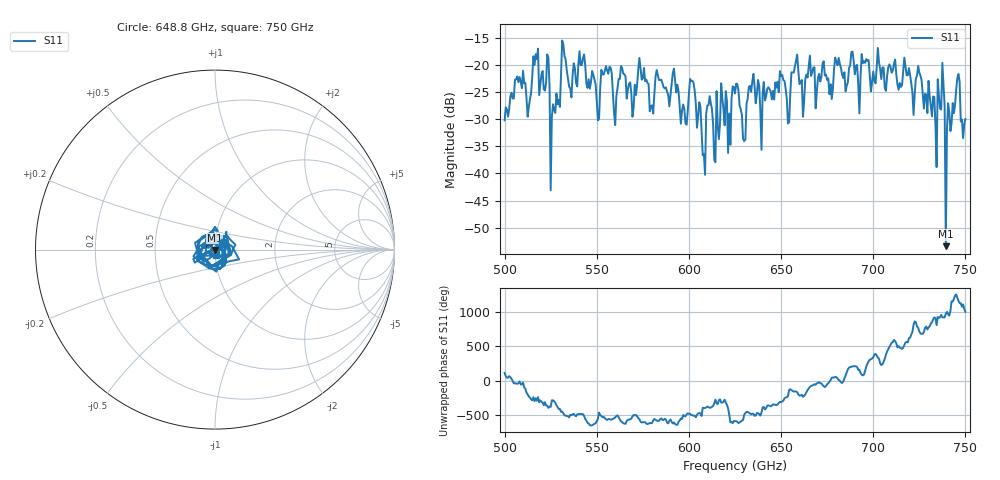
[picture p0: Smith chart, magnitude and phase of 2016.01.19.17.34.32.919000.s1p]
!Created with skrf (http://scikit-rf.org).
# GHz S RI R 50.0
!freq ReS11 ImS11
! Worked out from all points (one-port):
!   401 points, 500 GHz to 750 GHz, reference 50 ohm
!   lowest |S11| = -53.4 dB at 739.4 GHz (marker M1), VSWR 1.00, Z = 49.9 - j0.204 ohm
!   |S11| at or under -10 dB: start of sweep to end of sweep
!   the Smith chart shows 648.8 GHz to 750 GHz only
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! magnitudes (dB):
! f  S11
! 500 GHz  -30.2
! 506.9 GHz  -22.1
! 513.1 GHz  -27.7
! 516.9 GHz  -17.9
! 523.1 GHz  -18.0
! 526.2 GHz  -27.2
! 531.2 GHz  -15.4
! 541.9 GHz  -19.9
! 550.6 GHz  -30.2
! 562.5 GHz  -22.6
! 593.8 GHz  -23.6
! 598.1 GHz  -30.7
! 601.9 GHz  -22.9
! 608.1 GHz  -36.5
! 610.6 GHz  -27.4
! 615 GHz  -24.8
! 625 GHz  -25.2
! 629.4 GHz  -33.6
! 633.8 GHz  -24.9
! 653.8 GHz  -30.8
! 656.2 GHz  -21.3
! 687.5 GHz  -20.0
! 718.8 GHz  -21.8
! 733.1 GHz  -25.8
! 736.9 GHz  -28.2
! 739.4 GHz  -53.4
! 745.6 GHz  -22.4
! 750 GHz  -29.9
